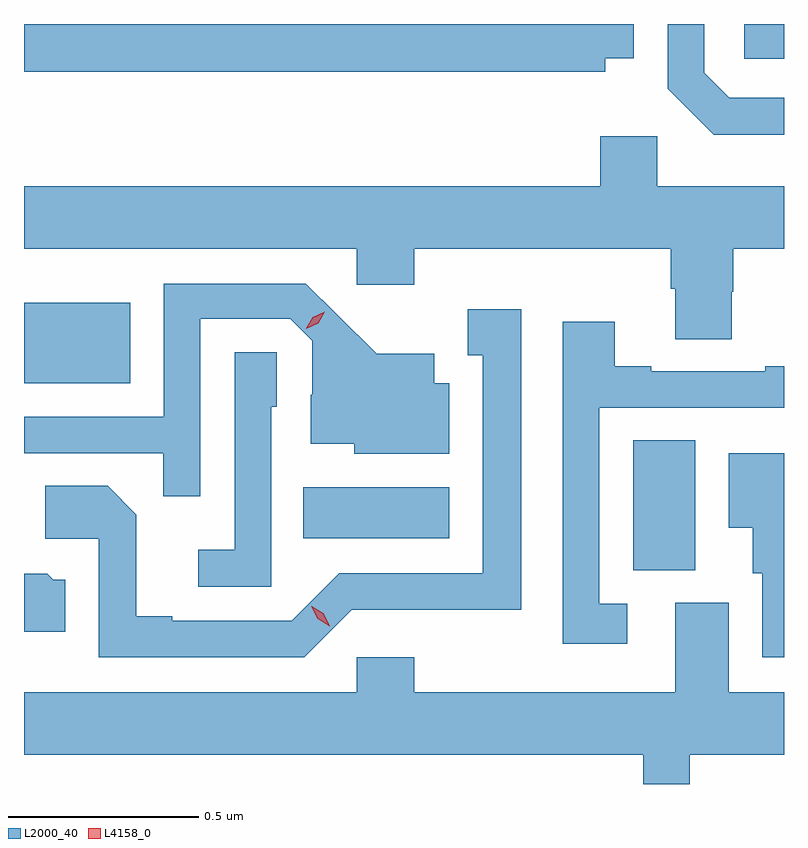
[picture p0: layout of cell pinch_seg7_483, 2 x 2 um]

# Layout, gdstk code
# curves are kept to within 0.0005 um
import gdstk
lib = gdstk.Library(unit=1e-6, precision=1e-09)
def R(c, l, rs):  # rectangles x0, y0, x1, y1
    for r in rs: c.add(gdstk.rectangle(r[:2], r[2:], *l))
def P(c, l, *ps):  # polygons
    for p in ps: c.add(gdstk.Polygon(p, *l))
L2000_40 = (2000, 40)
L4158_0 = (4158, 0)

pinch_seg7_483 = lib.new_cell('pinch_seg7_483')
R(pinch_seg7_483, L2000_40, [(199.064,1062.373,199.228,1062.716), (198.196,1062.458,198.58,1062.592), (197.461,1062.866,197.74,1063.078), (199.356,1063.719,199.461,1063.811)])
P(pinch_seg7_483, L2000_40, [(199.461,1063.617),(199.317,1063.617),(199.251,1063.683),(199.251,1063.811),(199.155,1063.811),(199.155,1063.641),(199.276,1063.52),(199.461,1063.52)],
  [(198.99,1063.721),(199.066,1063.721),(199.066,1063.811),(197.461,1063.811),(197.461,1063.686),(198.99,1063.686)],
  [(199.323,1063.107),(199.328,1063.107),(199.328,1063.22),(199.461,1063.22),(199.461,1063.384),(199.128,1063.384),(199.128,1063.516),(198.977,1063.516),(198.977,1063.384),(197.461,1063.384),(197.461,1063.22),(198.336,1063.22),(198.336,1063.125),(198.488,1063.125),(198.488,1063.22),(199.163,1063.22),(199.163,1063.114),(199.175,1063.114),(199.175,1062.982),(199.323,1062.982)],
  [(197.925,1063.035),(198.162,1063.035),(198.219,1062.978),(198.219,1062.836),(198.215,1062.836),(198.215,1062.707),(198.33,1062.707),(198.33,1062.68),(198.58,1062.68),(198.58,1062.865),(198.541,1062.865),(198.541,1062.943),(198.389,1062.943),(198.202,1063.128),(197.829,1063.128),(197.829,1062.777),(197.461,1062.777),(197.461,1062.681),(197.827,1062.681),(197.827,1062.568),(197.925,1062.568)],
  [(198.324,1062.27),(198.546,1062.27),(198.546,1062.269),(198.769,1062.269),(198.769,1063.06),(198.629,1063.06),(198.629,1062.939),(198.668,1062.939),(198.668,1062.366),(198.291,1062.366),(198.165,1062.24),(197.851,1062.24),(197.851,1062.253),(197.757,1062.253),(197.757,1062.52),(197.681,1062.596),(197.517,1062.596),(197.517,1062.456),(197.658,1062.456),(197.658,1062.144),(198.198,1062.144)],
  [(199.048,1062.285),(198.975,1062.285),(198.975,1062.801),(199.461,1062.801),(199.461,1062.91),(199.411,1062.91),(199.411,1062.897),(199.111,1062.897),(199.111,1062.91),(199.015,1062.91),(199.015,1063.027),(198.879,1063.027),(198.879,1062.18),(199.048,1062.18)],
  [(198.111,1062.804),(198.126,1062.804),(198.126,1062.947),(198.015,1062.947),(198.015,1062.427),(197.919,1062.427),(197.919,1062.33),(198.111,1062.33)],
  [(199.461,1062.682),(199.316,1062.682),(199.316,1062.485),(199.379,1062.485),(199.379,1062.366),(199.404,1062.366),(199.404,1062.144),(199.461,1062.144)],
  [(197.569,1062.348),(197.538,1062.348),(197.522,1062.364),(197.461,1062.364),(197.461,1062.212),(197.569,1062.212)],
  [(199.213,1061.888),(199.461,1061.888),(199.461,1062.052),(199.315,1062.052),(199.315,1062.288),(199.175,1062.288),(199.175,1062.052),(198.488,1062.052),(198.488,1062.145),(198.336,1062.145),(198.336,1062.052),(197.461,1062.052),(197.461,1061.888),(199.091,1061.888),(199.091,1061.811),(199.213,1061.811)])
P(pinch_seg7_483, L4158_0, [(198.265,1062.226),(198.234,1062.246),(198.217,1062.279),(198.217,1062.279),(198.218,1062.279),(198.249,1062.26),(198.266,1062.227),(198.266,1062.226)],
  [(198.204,1063.009),(198.204,1063.01),(198.221,1063.039),(198.252,1063.054),(198.252,1063.054),(198.252,1063.054),(198.235,1063.024),(198.204,1063.009)])

lib.write_gds('pinch_seg7_483.gds')
